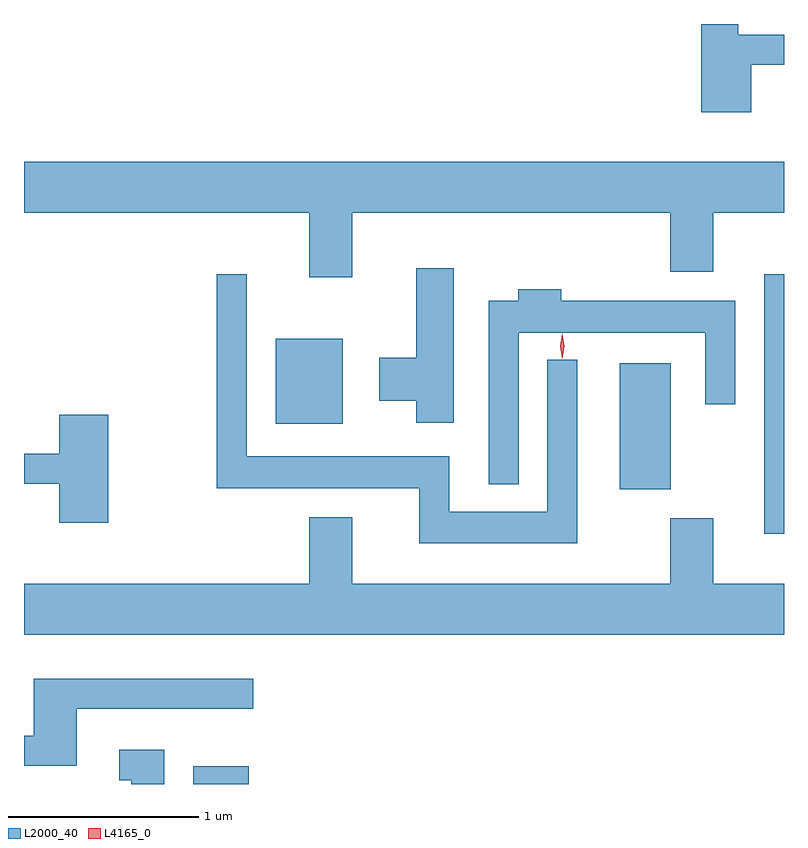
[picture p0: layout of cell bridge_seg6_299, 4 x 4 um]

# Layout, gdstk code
import gdstk
lib = gdstk.Library(unit=1e-6, precision=1e-09)
def R(c, l, rs):  # rectangles x0, y0, x1, y1
    for r in rs: c.add(gdstk.rectangle(r[:2], r[2:], *l))
def P(c, l, *ps):  # polygons
    for p in ps: c.add(gdstk.Polygon(p, *l))
L2000_40 = (2000, 40)
L4165_0 = (4165, 0)

bridge_seg6_299 = lib.new_cell('bridge_seg6_299')
R(bridge_seg6_299, L2000_40, [(1263.811,1553.69,1264.104,1553.784), (1266.816,1555.006,1266.921,1556.373), (1266.056,1555.241,1266.324,1555.904), (1264.246,1555.586,1264.599,1556.034)])
P(bridge_seg6_299, L2000_40, [(1266.749,1557.476),(1266.921,1557.476),(1266.921,1557.634),(1266.679,1557.634),(1266.679,1557.69),(1266.486,1557.69),(1266.486,1557.226),(1266.749,1557.226)],
  [(1264.649,1556.696),(1266.321,1556.696),(1266.321,1556.386),(1266.549,1556.386),(1266.549,1556.696),(1266.921,1556.696),(1266.921,1556.964),(1262.921,1556.964),(1262.921,1556.696),(1264.421,1556.696),(1264.421,1556.356),(1264.649,1556.356)],
  [(1265.184,1556.404),(1264.986,1556.404),(1264.986,1555.934),(1264.791,1555.934),(1264.791,1555.706),(1264.986,1555.706),(1264.986,1555.591),(1265.184,1555.591)],
  [(1265.834,1555.923),(1265.676,1555.923),(1265.676,1555.124),(1265.159,1555.124),(1265.159,1555.414),(1264.094,1555.414),(1264.094,1556.373),(1263.936,1556.373),(1263.936,1555.246),(1265.001,1555.246),(1265.001,1554.956),(1265.834,1554.956)],
  [(1265.524,1556.066),(1266.506,1556.066),(1266.506,1555.688),(1266.664,1555.688),(1266.664,1556.234),(1265.749,1556.234),(1265.749,1556.294),(1265.521,1556.294),(1265.521,1556.234),(1265.366,1556.234),(1265.366,1555.268),(1265.524,1555.268)],
  [(1263.364,1555.634),(1263.106,1555.634),(1263.106,1555.429),(1262.921,1555.429),(1262.921,1555.271),(1263.106,1555.271),(1263.106,1555.066),(1263.364,1555.066)],
  [(1266.921,1554.744),(1266.549,1554.744),(1266.549,1555.089),(1266.321,1555.089),(1266.321,1554.744),(1264.649,1554.744),(1264.649,1555.094),(1264.421,1555.094),(1264.421,1554.744),(1262.921,1554.744),(1262.921,1554.476),(1266.921,1554.476)],
  [(1263.199,1554.086),(1264.128,1554.086),(1264.128,1554.244),(1262.971,1554.244),(1262.971,1553.944),(1262.921,1553.944),(1262.921,1553.786),(1263.199,1553.786)],
  [(1263.659,1553.869),(1263.423,1553.869),(1263.423,1553.711),(1263.486,1553.711),(1263.486,1553.69),(1263.659,1553.69)])
P(bridge_seg6_299, L4165_0, [(1265.754,1555.927),(1265.744,1555.994),(1265.754,1556.06),(1265.754,1556.06),(1265.755,1556.06),(1265.764,1555.994),(1265.755,1555.927),(1265.755,1555.927)])

lib.write_gds('bridge_seg6_299.gds')
